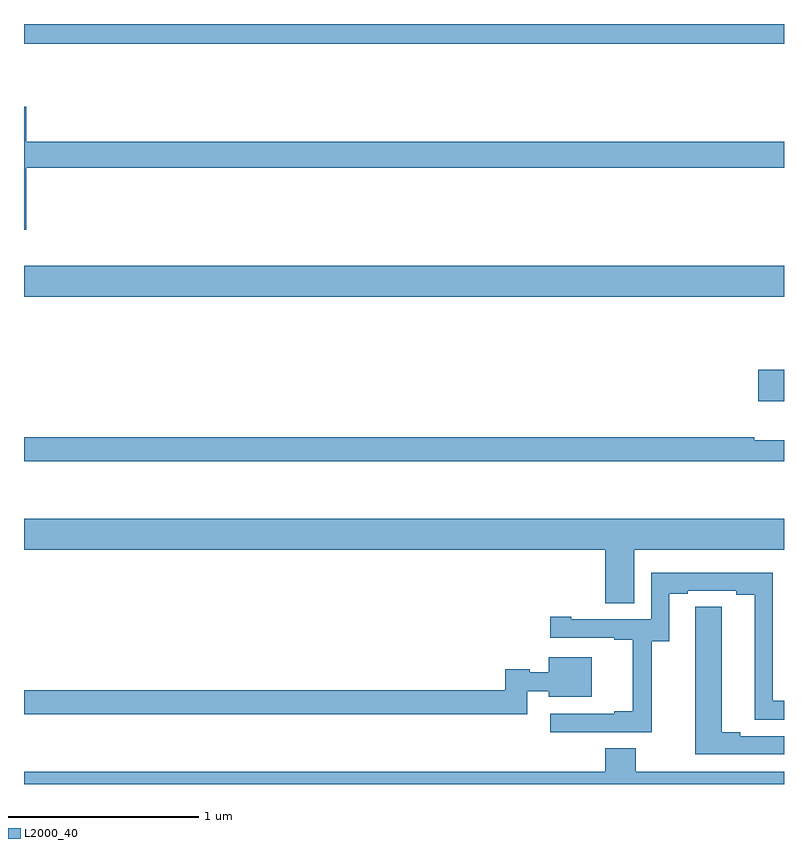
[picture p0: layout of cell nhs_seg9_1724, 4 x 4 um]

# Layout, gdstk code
import gdstk
lib = gdstk.Library(unit=1e-6, precision=1e-09)
def R(c, l, rs):  # rectangles x0, y0, x1, y1
    for r in rs: c.add(gdstk.rectangle(r[:2], r[2:], *l))
def P(c, l, *ps):  # polygons
    for p in ps: c.add(gdstk.Polygon(p, *l))
L2000_40 = (2000, 40)

nhs_seg9_1724 = lib.new_cell('nhs_seg9_1724')
R(nhs_seg9_1724, L2000_40, [(210.864,1218.515,211,1218.681), (207,1219.064,211,1219.228), (207,1220.396,211,1220.5)])
P(nhs_seg9_1724, L2000_40, [(207.011,1219.744),(211,1219.744),(211,1219.88),(207.011,1219.88),(207.011,1220.065),(207,1220.065),(207,1219.416),(207.011,1219.416)],
  [(211,1218.308),(210.843,1218.308),(210.843,1218.326),(207,1218.326),(207,1218.198),(211,1218.198)],
  [(210.211,1217.732),(211,1217.732),(211,1217.896),(207,1217.896),(207,1217.732),(210.059,1217.732),(210.059,1217.452),(210.211,1217.452)],
  [(210.303,1217.251),(210.397,1217.251),(210.397,1217.502),(210.493,1217.502),(210.493,1217.517),(210.749,1217.517),(210.749,1217.497),(210.845,1217.497),(210.845,1216.837),(211,1216.837),(211,1216.938),(210.942,1216.938),(210.942,1217.613),(210.3,1217.613),(210.3,1217.367),(209.881,1217.367),(209.881,1217.38),(209.769,1217.38),(209.769,1217.271),(210.107,1217.271),(210.107,1217.259),(210.203,1217.259),(210.203,1216.882),(210.107,1216.882),(210.107,1216.869),(209.769,1216.869),(209.769,1216.773),(210.303,1216.773)],
  [(211,1216.752),(210.769,1216.752),(210.769,1216.772),(210.673,1216.772),(210.673,1217.432),(210.534,1217.432),(210.534,1217.324),(210.533,1217.324),(210.533,1216.656),(211,1216.656)],
  [(209.649,1216.989),(209.762,1216.989),(209.762,1216.958),(209.989,1216.958),(209.989,1217.167),(209.762,1217.167),(209.762,1217.087),(209.661,1217.087),(209.661,1217.105),(209.533,1217.105),(209.533,1216.994),(207,1216.994),(207,1216.866),(209.649,1216.866)],
  [(211,1216.564),(210.219,1216.564),(210.219,1216.688),(210.059,1216.688),(210.059,1216.564),(207,1216.564),(207,1216.5),(211,1216.5)])

lib.write_gds('nhs_seg9_1724.gds')
